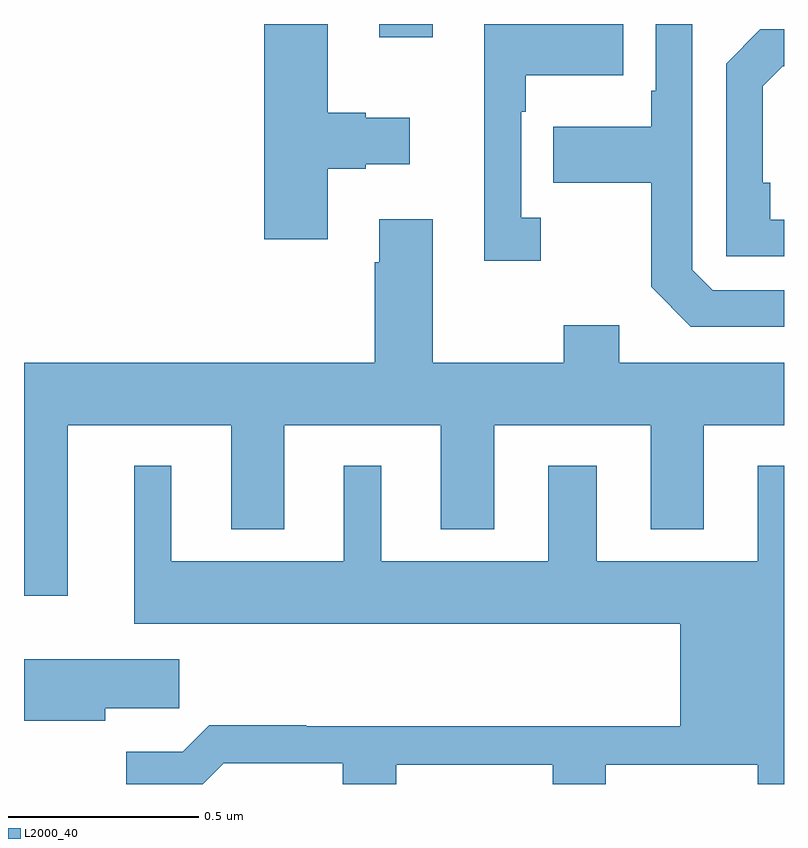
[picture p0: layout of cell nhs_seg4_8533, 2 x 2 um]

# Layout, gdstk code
import gdstk
lib = gdstk.Library(unit=1e-6, precision=1e-09)
def R(c, l, rs):  # rectangles x0, y0, x1, y1
    for r in rs: c.add(gdstk.rectangle(r[:2], r[2:], *l))
def P(c, l, *ps):  # polygons
    for p in ps: c.add(gdstk.Polygon(p, *l))
L2000_40 = (2000, 40)

nhs_seg4_8533 = lib.new_cell('nhs_seg4_8533')
R(nhs_seg4_8533, L2000_40, [(216.935,773.865,217.075,773.9)])
P(nhs_seg4_8533, L2000_40, [(216.799,773.519),(216.899,773.519),(216.899,773.531),(217.015,773.531),(217.015,773.653),(216.899,773.653),(216.899,773.666),(216.799,773.666),(216.799,773.9),(216.632,773.9),(216.632,773.334),(216.799,773.334)],
  [(218,773.199),(217.812,773.199),(217.758,773.253),(217.758,773.9),(217.662,773.9),(217.662,773.725),(217.65,773.725),(217.65,773.629),(217.393,773.629),(217.393,773.482),(217.65,773.482),(217.65,773.209),(217.755,773.103),(218,773.103)],
  [(217.36,773.39),(217.308,773.39),(217.308,773.669),(217.321,773.669),(217.321,773.765),(217.577,773.765),(217.577,773.9),(217.211,773.9),(217.211,773.277),(217.36,773.277)],
  [(218,773.385),(217.964,773.385),(217.964,773.482),(217.944,773.482),(217.944,773.736),(217.997,773.789),(218,773.789),(218,773.886),(217.938,773.886),(217.848,773.796),(217.848,773.289),(218,773.289)],
  [(216.115,772.844),(216.545,772.844),(216.545,772.571),(216.685,772.571),(216.685,772.844),(217.097,772.844),(217.097,772.571),(217.237,772.571),(217.237,772.844),(217.649,772.844),(217.649,772.571),(217.789,772.571),(217.789,772.844),(218,772.844),(218,773.008),(217.567,773.008),(217.567,773.107),(217.42,773.107),(217.42,773.008),(217.075,773.008),(217.075,773.386),(216.935,773.386),(216.935,773.273),(216.923,773.273),(216.923,773.008),(216,773.008),(216,772.395),(216.115,772.395)],
  [(216.525,771.954),(216.839,771.954),(216.839,771.9),(216.979,771.9),(216.979,771.951),(217.391,771.951),(217.391,771.9),(217.531,771.9),(217.531,771.951),(217.931,771.951),(217.931,771.9),(218,771.9),(218,772.738),(217.931,772.738),(217.931,772.486),(217.507,772.486),(217.507,772.738),(217.379,772.738),(217.379,772.486),(216.94,772.486),(216.94,772.738),(216.842,772.738),(216.842,772.486),(216.388,772.486),(216.388,772.738),(216.29,772.738),(216.29,772.322),(217.727,772.322),(217.727,772.052),(216.743,772.052),(216.743,772.055),(216.488,772.055),(216.418,771.985),(216.269,771.985),(216.269,771.9),(216.471,771.9)],
  [(216.214,772.099),(216.409,772.099),(216.409,772.228),(216,772.228),(216,772.067),(216.214,772.067)])

lib.write_gds('nhs_seg4_8533.gds')
